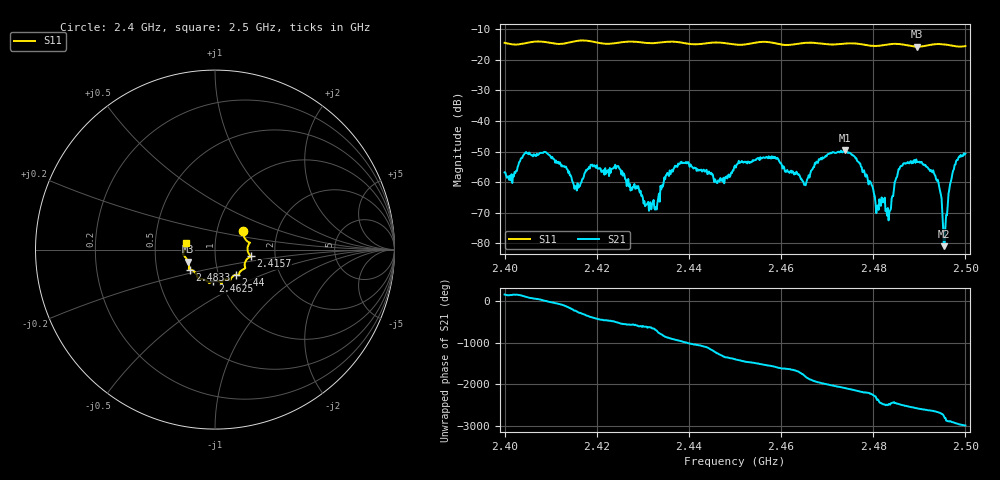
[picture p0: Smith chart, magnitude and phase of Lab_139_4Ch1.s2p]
# Hz S RI R 50
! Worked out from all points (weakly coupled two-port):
!   601 points, 2.4 GHz to 2.5 GHz, reference 50 ohm
!   highest |S21| = -49.65 dB at 2.4738 GHz (marker M1); lowest = -80.9 dB at 2.4953 GHz (marker M2)
!   lowest |S11| = -15.7 dB at 2.4895 GHz (marker M3), VSWR 1.39, Z = 36.8 - j5.12 ohm
!   |S11| at or under -10 dB: start of sweep to end of sweep
!   S12 and S22 are empty: the file has one direction only
!   S11 on the Smith chart (normalised r, x): 2.4 GHz: 1.33, +0.29; 2.4157 GHz: 1.49, -0.12; 2.44 GHz: 1.21, -0.35; 2.4625 GHz: 0.92, -0.34; 2.4833 GHz: 0.74, -0.17; 2.5 GHz: 0.72, +0.05
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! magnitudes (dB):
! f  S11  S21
! 2.4 GHz  -14.5  -56.8
! 2.4087 GHz  -14.2  -50.1
! 2.4157 GHz  -13.9  -62.7
! 2.4167 GHz  -13.7  -60.0
! 2.4243 GHz  -14.5  -54.9
! 2.4308 GHz  -14.5  -67.3
! 2.4333 GHz  -14.4  -65.1
! 2.4353 GHz  -14.1  -57.0
! 2.44 GHz  -14.8  -54.2
! 2.446 GHz  -14.4  -60.2
! 2.45 GHz  -15.0  -54.6
! 2.4582 GHz  -14.4  -52.1
! 2.4625 GHz  -15.0  -56.4
! 2.4667 GHz  -14.4  -56.0
! 2.4738 GHz  -14.7  -49.7
! 2.4833 GHz  -15.0  -72.5
! 2.4858 GHz  -14.9  -55.0
! 2.4895 GHz  -15.7  -53.4
! 2.4935 GHz  -14.9  -58.0
! 2.4953 GHz  -15.0  -80.9
! 2.4977 GHz  -15.6  -54.4
! 2.5 GHz  -15.6  -50.7
